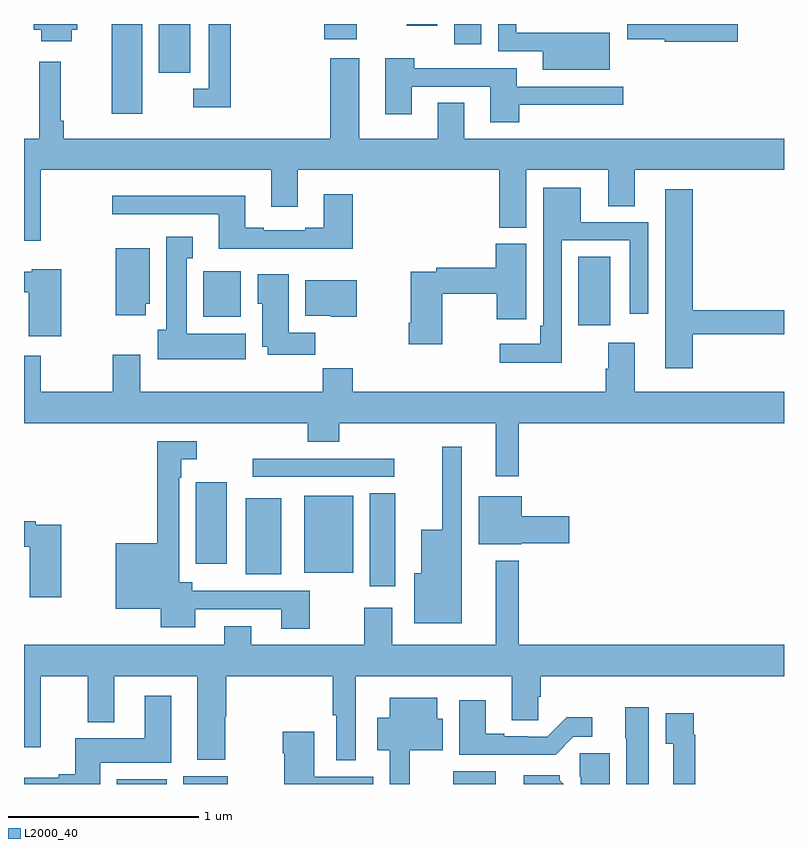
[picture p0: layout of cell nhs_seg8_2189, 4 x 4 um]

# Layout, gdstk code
import gdstk
lib = gdstk.Library(unit=1e-6, precision=1e-09)
def R(c, l, rs):  # rectangles x0, y0, x1, y1
    for r in rs: c.add(gdstk.rectangle(r[:2], r[2:], *l))
def P(c, l, *ps):  # polygons
    for p in ps: c.add(gdstk.Polygon(p, *l))
L2000_40 = (2000, 40)

nhs_seg8_2189 = lib.new_cell('nhs_seg8_2189')
R(nhs_seg8_2189, L2000_40, [(249.488,1147.9,249.751,1147.924), (249.839,1147.9,250.072,1147.942), (251.258,1147.9,251.482,1147.966), (250.82,1148.94,250.954,1149.431), (250.166,1149.005,250.354,1149.403), (250.475,1149.011,250.732,1149.418), (249.905,1149.06,250.066,1149.487), (250.203,1149.516,250.948,1149.612), (251.918,1150.314,252.085,1150.676), (249.944,1150.358,250.141,1150.6), (249.461,1151.427,249.622,1151.9), (249.71,1151.643,249.874,1151.9), (251.264,1151.793,251.407,1151.9), (250.58,1151.819,250.75,1151.9), (251.015,1151.892,251.176,1151.9)])
P(nhs_seg8_2189, L2000_40, [(250.088,1151.9),(249.972,1151.9),(249.972,1151.559),(249.891,1151.559),(249.891,1151.462),(250.088,1151.462)],
  [(252.082,1151.854),(251.838,1151.854),(251.838,1151.853),(251.592,1151.853),(251.592,1151.9),(251.496,1151.9),(251.496,1151.757),(251.729,1151.757),(251.729,1151.66),(252.082,1151.66)],
  [(252.757,1151.9),(252.176,1151.9),(252.176,1151.819),(252.372,1151.819),(252.372,1151.807),(252.757,1151.807)],
  [(249.25,1151.87),(249.28,1151.87),(249.28,1151.9),(249.05,1151.9),(249.05,1151.87),(249.092,1151.87),(249.092,1151.81),(249.25,1151.81)],
  [(251.606,1151.474),(252.154,1151.474),(252.154,1151.571),(251.593,1151.571),(251.593,1151.667),(251.054,1151.667),(251.054,1151.719),(250.901,1151.719),(250.901,1151.424),(251.041,1151.424),(251.041,1151.571),(251.453,1151.571),(251.453,1151.382),(251.606,1151.382)],
  [(249.088,1151.132),(250.301,1151.132),(250.301,1150.938),(250.441,1150.938),(250.441,1151.132),(251.501,1151.132),(251.501,1150.828),(251.644,1150.828),(251.644,1151.132),(252.074,1151.132),(252.074,1150.942),(252.214,1150.942),(252.214,1151.132),(253,1151.132),(253,1151.296),(251.317,1151.296),(251.317,1151.486),(251.177,1151.486),(251.177,1151.296),(250.765,1151.296),(250.765,1151.719),(250.613,1151.719),(250.613,1151.296),(249.209,1151.296),(249.209,1151.392),(249.194,1151.392),(249.194,1151.701),(249.081,1151.701),(249.081,1151.296),(249,1151.296),(249,1150.758),(249.088,1150.758)],
  [(251.829,1150.761),(252.189,1150.761),(252.189,1150.374),(252.285,1150.374),(252.285,1150.857),(251.929,1150.857),(251.929,1151.038),(251.733,1151.038),(251.733,1150.312),(251.717,1150.312),(251.717,1150.216),(251.505,1150.216),(251.505,1150.118),(251.829,1150.118)],
  [(252.521,1150.266),(253,1150.266),(253,1150.394),(252.521,1150.394),(252.521,1151.029),(252.374,1151.029),(252.374,1150.089),(252.521,1150.089)],
  [(250.73,1151.005),(250.577,1151.005),(250.577,1150.828),(250.481,1150.828),(250.481,1150.815),(250.261,1150.815),(250.261,1150.828),(250.165,1150.828),(250.165,1150.996),(249.465,1150.996),(249.465,1150.899),(250.025,1150.899),(250.025,1150.718),(250.73,1150.718)],
  [(250.168,1150.27),(249.856,1150.27),(249.856,1150.667),(249.889,1150.667),(249.889,1150.78),(249.749,1150.78),(249.749,1150.29),(249.704,1150.29),(249.704,1150.136),(250.168,1150.136)],
  [(251.202,1150.48),(251.488,1150.48),(251.488,1150.347),(251.643,1150.347),(251.643,1150.459),(251.644,1150.459),(251.644,1150.743),(251.483,1150.743),(251.483,1150.616),(251.17,1150.616),(251.17,1150.596),(251.036,1150.596),(251.036,1150.327),(251.024,1150.327),(251.024,1150.215),(251.202,1150.215)],
  [(249.64,1150.428),(249.661,1150.428),(249.661,1150.72),(249.482,1150.72),(249.482,1150.368),(249.64,1150.368)],
  [(249.196,1150.609),(249.042,1150.609),(249.042,1150.597),(249,1150.597),(249,1150.488),(249.026,1150.488),(249.026,1150.257),(249.196,1150.257)],
  [(250.532,1150.276),(250.393,1150.276),(250.393,1150.582),(250.229,1150.582),(250.229,1150.428),(250.253,1150.428),(250.253,1150.202),(250.283,1150.202),(250.283,1150.158),(250.532,1150.158)],
  [(250.75,1150.552),(250.481,1150.552),(250.481,1150.364),(250.614,1150.364),(250.614,1150.358),(250.75,1150.358)],
  [(251.605,1149.8),(253,1149.8),(253,1149.964),(252.214,1149.964),(252.214,1150.222),(252.074,1150.222),(252.074,1150.085),(252.062,1150.085),(252.062,1149.964),(250.73,1149.964),(250.73,1150.088),(250.573,1150.088),(250.573,1149.964),(249.613,1149.964),(249.613,1150.159),(249.466,1150.159),(249.466,1149.964),(249.088,1149.964),(249.088,1150.153),(249,1150.153),(249,1149.8),(250.493,1149.8),(250.493,1149.701),(250.658,1149.701),(250.658,1149.8),(251.483,1149.8),(251.483,1149.519),(251.605,1149.519)],
  [(250.503,1148.916),(249.886,1148.916),(249.886,1148.962),(249.816,1148.962),(249.816,1149.512),(249.828,1149.512),(249.828,1149.609),(249.91,1149.609),(249.91,1149.705),(249.7,1149.705),(249.7,1149.166),(249.482,1149.166),(249.482,1148.822),(249.719,1148.822),(249.719,1148.726),(249.901,1148.726),(249.901,1148.82),(250.355,1148.82),(250.355,1148.718),(250.503,1148.718)],
  [(251.305,1149.676),(251.201,1149.676),(251.201,1149.238),(251.09,1149.238),(251.09,1149.01),(251.054,1149.01),(251.054,1148.747),(251.305,1148.747)],
  [(251.616,1149.167),(251.869,1149.167),(251.869,1149.309),(251.62,1149.309),(251.62,1149.415),(251.393,1149.415),(251.393,1149.161),(251.616,1149.161)],
  [(249.196,1149.264),(249.062,1149.264),(249.062,1149.284),(249,1149.284),(249,1149.148),(249.031,1149.148),(249.031,1148.883),(249.196,1148.883)],
  [(250.747,1148.468),(251.567,1148.468),(251.567,1148.236),(251.706,1148.236),(251.706,1148.358),(251.72,1148.358),(251.72,1148.468),(253,1148.468),(253,1148.632),(251.605,1148.632),(251.605,1149.076),(251.483,1149.076),(251.483,1148.632),(250.939,1148.632),(250.939,1148.827),(250.792,1148.827),(250.792,1148.632),(250.195,1148.632),(250.195,1148.731),(250.055,1148.731),(250.055,1148.632),(249,1148.632),(249,1148.094),(249.088,1148.094),(249.088,1148.468),(249.335,1148.468),(249.335,1148.225),(249.475,1148.225),(249.475,1148.468),(249.911,1148.468),(249.911,1148.027),(250.059,1148.027),(250.059,1148.253),(250.064,1148.253),(250.064,1148.468),(250.626,1148.468),(250.626,1148.263),(250.643,1148.263),(250.643,1148.024),(250.747,1148.024)],
  [(249.4,1148.012),(249.775,1148.012),(249.775,1148.365),(249.635,1148.365),(249.635,1148.14),(249.271,1148.14),(249.271,1147.952),(249.182,1147.952),(249.182,1147.933),(249,1147.933),(249,1147.9),(249.4,1147.9)],
  [(251.029,1148.078),(251.203,1148.078),(251.203,1148.244),(251.176,1148.244),(251.176,1148.353),(250.925,1148.353),(250.925,1148.248),(250.859,1148.248),(250.859,1148.078),(250.925,1148.078),(250.925,1147.9),(251.029,1147.9)],
  [(251.892,1148.148),(251.992,1148.148),(251.992,1148.251),(251.857,1148.251),(251.754,1148.148),(251.654,1148.148),(251.654,1148.151),(251.527,1148.151),(251.527,1148.164),(251.431,1148.164),(251.431,1148.341),(251.291,1148.341),(251.291,1148.054),(251.798,1148.054)],
  [(252.289,1148.305),(252.164,1148.305),(252.164,1148.142),(252.17,1148.142),(252.17,1147.9),(252.289,1147.9)],
  [(252.533,1148.159),(252.526,1148.159),(252.526,1148.272),(252.377,1148.272),(252.377,1148.111),(252.417,1148.111),(252.417,1147.9),(252.533,1147.9)],
  [(250.837,1147.939),(250.528,1147.939),(250.528,1148.176),(250.363,1148.176),(250.363,1148.063),(250.37,1148.063),(250.37,1147.9),(250.837,1147.9)],
  [(252.082,1148.061),(251.926,1148.061),(251.926,1147.938),(251.93,1147.938),(251.93,1147.9),(252.082,1147.9)],
  [(251.82,1147.92),(251.82,1147.945),(251.63,1147.945),(251.63,1147.9),(251.84,1147.9)])

lib.write_gds('nhs_seg8_2189.gds')
